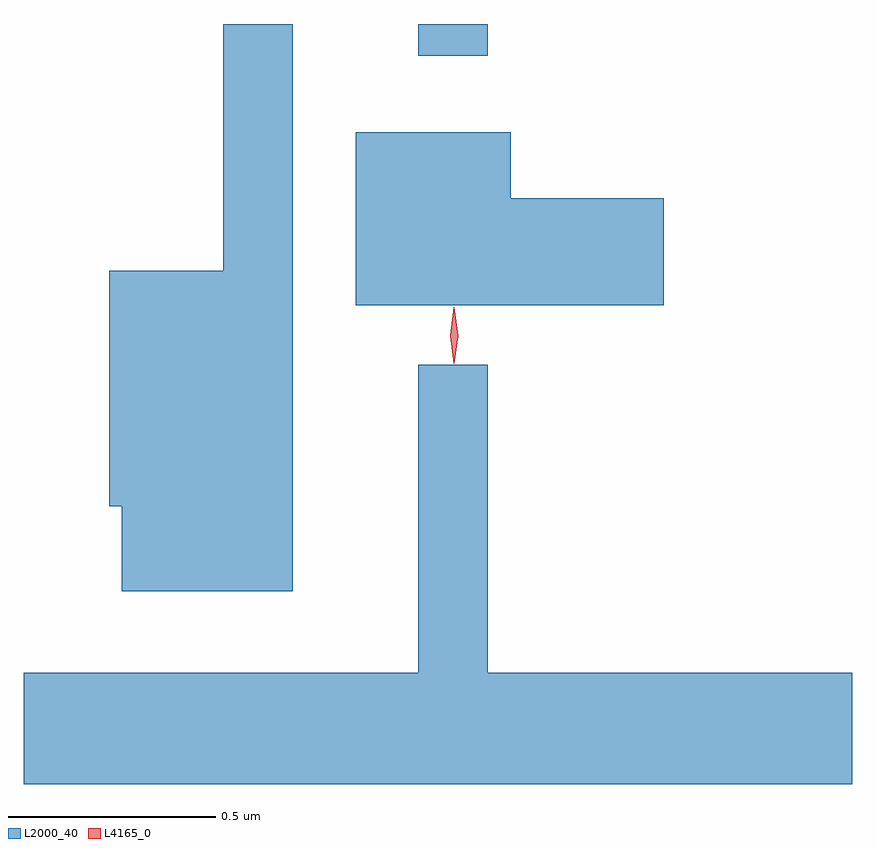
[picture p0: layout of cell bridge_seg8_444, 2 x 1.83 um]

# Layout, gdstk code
import gdstk
lib = gdstk.Library(unit=1e-6, precision=1e-09)
def R(c, l, rs):  # rectangles x0, y0, x1, y1
    for r in rs: c.add(gdstk.rectangle(r[:2], r[2:], *l))
def P(c, l, *ps):  # polygons
    for p in ps: c.add(gdstk.Polygon(p, *l))
L2000_40 = (2000, 40)
L4165_0 = (4165, 0)

bridge_seg8_444 = lib.new_cell('bridge_seg8_444')
R(bridge_seg8_444, L2000_40, [(1009.291,1818.193,1009.459,1818.27)])
P(bridge_seg8_444, L2000_40, [(1008.989,1818.27),(1008.821,1818.27),(1008.821,1817.674),(1008.546,1817.674),(1008.546,1817.106),(1008.576,1817.106),(1008.576,1816.901),(1008.989,1816.901)],
  [(1009.884,1817.849),(1009.514,1817.849),(1009.514,1818.009),(1009.141,1818.009),(1009.141,1817.591),(1009.884,1817.591)],
  [(1010.339,1816.704),(1009.459,1816.704),(1009.459,1817.448),(1009.291,1817.448),(1009.291,1816.704),(1008.339,1816.704),(1008.339,1816.436),(1010.339,1816.436)])
P(bridge_seg8_444, L4165_0, [(1009.377,1817.45),(1009.368,1817.518),(1009.377,1817.586),(1009.378,1817.586),(1009.378,1817.586),(1009.388,1817.518),(1009.378,1817.45),(1009.378,1817.45)],
  [(1009.377,1817.453),(1009.368,1817.516),(1009.377,1817.579),(1009.378,1817.58),(1009.378,1817.579),(1009.388,1817.516),(1009.378,1817.453),(1009.378,1817.453)])

lib.write_gds('bridge_seg8_444.gds')
